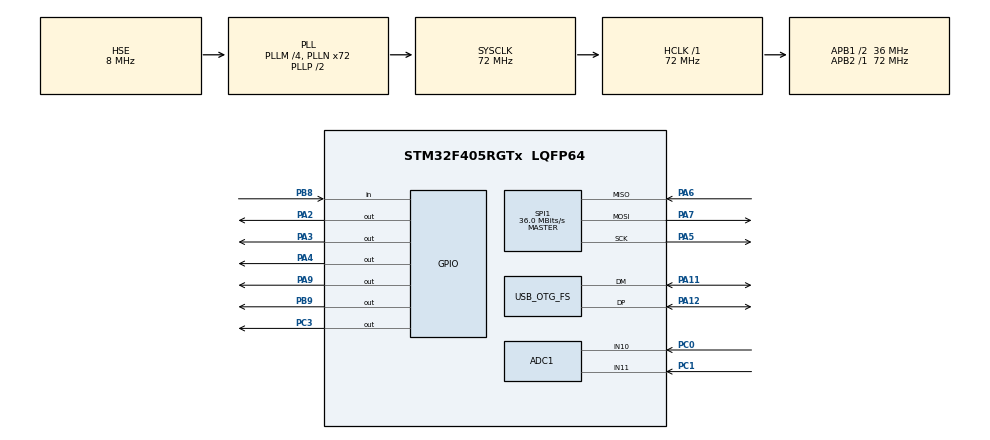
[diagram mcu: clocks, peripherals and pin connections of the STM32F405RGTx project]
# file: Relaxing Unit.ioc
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ADC1.Channel-0\#ChannelRegularConversion=ADC_CHANNEL_10
ADC1.Channel-1\#ChannelRegularConversion=ADC_CHANNEL_11
ADC1.ClockPrescaler=ADC_CLOCK_SYNC_PCLK_DIV4
ADC1.ContinuousConvMode=ENABLE
ADC1.DMAContinuousRequests=ENABLE
ADC1.NbrOfConversion=2
ADC1.NbrOfConversionFlag=1
ADC1.Rank-0\#ChannelRegularConversion=1
ADC1.Rank-1\#ChannelRegularConversion=2
ADC1.SamplingTime-0\#ChannelRegularConversion=ADC_SAMPLETIME_144CYCLES
ADC1.SamplingTime-1\#ChannelRegularConversion=ADC_SAMPLETIME_144CYCLES
ADC1.ScanConvMode=ENABLE
ADC1.master=1
Dma.ADC1.0.Direction=DMA_PERIPH_TO_MEMORY
Dma.ADC1.0.FIFOMode=DMA_FIFOMODE_DISABLE
Dma.ADC1.0.Instance=DMA2_Stream0
Dma.ADC1.0.MemDataAlignment=DMA_MDATAALIGN_HALFWORD
Dma.ADC1.0.MemInc=DMA_MINC_ENABLE
Dma.ADC1.0.Mode=DMA_CIRCULAR
Dma.ADC1.0.PeriphDataAlignment=DMA_PDATAALIGN_HALFWORD
Dma.ADC1.0.PeriphInc=DMA_PINC_DISABLE
Dma.ADC1.0.Priority=DMA_PRIORITY_LOW
Dma.Request0=ADC1
Mcu.Family=STM32F4
Mcu.Name=STM32F405RGTx
Mcu.Package=LQFP64
NVIC.DMA2_Stream0_IRQn=true\:0\:0\:false\:false\:true\:false\:true\:true
NVIC.OTG_FS_IRQn=true\:0\:0\:false\:false\:true\:false\:true\:true
NVIC.PriorityGroup=NVIC_PRIORITYGROUP_4
PA11.Mode=Device_Only
PA11.Signal=USB_OTG_FS_DM
PA12.Mode=Device_Only
PA12.Signal=USB_OTG_FS_DP
PA2.Signal=GPIO_Output
PA3.Signal=GPIO_Output
PA4.Signal=GPIO_Output
PA5.Mode=Full_Duplex_Master
PA5.Signal=SPI1_SCK
PA6.Mode=Full_Duplex_Master
PA6.Signal=SPI1_MISO
PA7.Mode=Full_Duplex_Master
PA7.Signal=SPI1_MOSI
PA9.Signal=GPIO_Output
PB8.Signal=GPIO_Input
PB9.Signal=GPIO_Output
PC0.Signal=ADCx_IN10
PC1.Signal=ADCx_IN11
PC14-OSC32_IN.Mode=LSE-External-Oscillator
PC14-OSC32_IN.Signal=RCC_OSC32_IN
PC15-OSC32_OUT.Mode=LSE-External-Oscillator
PC15-OSC32_OUT.Signal=RCC_OSC32_OUT
PC3.Signal=GPIO_Output
PH0-OSC_IN.Mode=HSE-External-Oscillator
PH0-OSC_IN.Signal=RCC_OSC_IN
PH1-OSC_OUT.Mode=HSE-External-Oscillator
PH1-OSC_OUT.Signal=RCC_OSC_OUT
ProjectManager.HeapSize=0x200
ProjectManager.StackSize=0x400
ProjectManager.TargetToolchain=STM32CubeIDE
RCC.48MHZClocksFreq_Value=48000000
RCC.AHBFreq_Value=72000000
RCC.APB1CLKDivider=RCC_HCLK_DIV2
RCC.APB1Freq_Value=36000000
RCC.APB1TimFreq_Value=72000000
RCC.APB2Freq_Value=72000000
RCC.APB2TimFreq_Value=72000000
RCC.CortexFreq_Value=72000000
RCC.HCLKFreq_Value=72000000
RCC.HSE_VALUE=8000000
RCC.HSI_VALUE=16000000
RCC.PLLM=4
RCC.PLLN=72
RCC.PLLQ=3
RCC.SYSCLKFreq_VALUE=72000000
RCC.SYSCLKSource=RCC_SYSCLKSOURCE_PLLCLK
RCC.VCOOutputFreq_Value=144000000
SH.ADCx_IN10.0=ADC1_IN10,IN10
SH.ADCx_IN11.0=ADC1_IN11,IN11
SPI1.CalculateBaudRate=36.0 MBits/s
SPI1.Direction=SPI_DIRECTION_2LINES
SPI1.Mode=SPI_MODE_MASTER
SPI1.VirtualType=VM_MASTER
USB_DEVICE.CLASS_NAME_FS=CDC
USB_DEVICE.VirtualMode-CDC_FS=Cdc
USB_DEVICE.VirtualModeFS=Cdc_FS
USB_OTG_FS.VirtualMode=Device_Only
VP_USB_DEVICE_VS_USB_DEVICE_CDC_FS.Mode=CDC_FS
board=custom

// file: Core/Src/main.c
/* USER CODE BEGIN Header */
/**
  ******************************************************************************
  * @file           : main.c
  * @brief          : Main program body
  ******************************************************************************
  * @attention
  *
  * Copyright (c) 2026 STMicroelectronics.
  * All rights reserved.
  *
  * This software is licensed under terms that can be found in the LICENSE file
  * in the root directory of this software component.
  * If no LICENSE file comes with this software, it is provided AS-IS.
  *
  ******************************************************************************
  */
/* USER CODE END Header */
#include "main.h"
#include "usb_device.h"

/* USER CODE BEGIN Includes */
void debug_print(char *msg);

#define SPI_CS_PORT  GPIOA
#define SPI_CS_PIN   GPIO_PIN_4

// Added the missing delay function definition
void delay_us(uint16_t us) {
    volatile uint32_t count = us * 1;
    while(count--);
}

extern SPI_HandleTypeDef hspi1;

void TMC5160_Write_Register(uint8_t reg_addr, uint32_t value) {
    uint8_t txData[5];

    txData[0] = reg_addr | 0x80; // Write Operation Bit
    txData[1] = (value >> 24) & 0xFF;
    txData[2] = (value >> 16) & 0xFF;
    txData[3] = (value >> 8)  & 0xFF;
    txData[4] = value         & 0xFF;

    HAL_GPIO_WritePin(SPI_CS_PORT, SPI_CS_PIN, GPIO_PIN_RESET);
    HAL_SPI_Transmit(&hspi1, txData, 5, HAL_MAX_DELAY);
    HAL_GPIO_WritePin(SPI_CS_PORT, SPI_CS_PIN, GPIO_PIN_SET);
}

/* USER CODE END Includes */

/* USER CODE BEGIN PTD */
uint16_t adc_buffer[2];  // adc_buffer[0] = PC0, adc_buffer[1] = PC1
char msg_buffer[100];    // String buffer for USB printing
/* USER CODE END PTD */

ADC_HandleTypeDef hadc1;
DMA_HandleTypeDef hdma_adc1;

SPI_HandleTypeDef hspi1;

void SystemClock_Config(void);
static void MX_GPIO_Init(void);
static void MX_DMA_Init(void);
static void MX_SPI1_Init(void);
static void MX_ADC1_Init(void);

/* USER CODE BEGIN 0 */
void TMC5160_Init(void) {
    HAL_GPIO_WritePin(SPI_CS_PORT, SPI_CS_PIN, GPIO_PIN_SET);
    HAL_Delay(10);

    // 1. CHOPCONF: Set to 4 microsteps for 4x baseline speed increase
    TMC5160_Write_Register(0x6C, 0x000100C3);

    // 2. IHOLD_IRUN: Increased IRUN to 16 for better torque at high speeds
    // Run Current (IRUN) = 16, Hold Current (IHOLD) = 2, Delay = 8
    uint32_t current_setting = (8 << 16) | (4 << 8) | (2 << 0);
    TMC5160_Write_Register(0x10, current_setting);

    // 3. GCONF: 0x00000000 turns OFF StealthChop and enables SpreadCycle
    TMC5160_Write_Register(0x00, 0x00000000);

    // 4. TPWMTHRS: Not used in pure SpreadCycle mode
    TMC5160_Write_Register(0x13, 0x00000000);

    // 5. PWMCONF: Can be left as default or omitted, as it only affects StealthChop
    TMC5160_Write_Register(0x70, 0xC40C001E);
}

/* USER CODE END 0 */

int main(void)
{

  /* MCU Configuration--------------------------------------------------------*/

  /* Reset of all peripherals, Initializes the Flash interface and the Systick. */
  HAL_Init();

  /* Configure the system clock */
  SystemClock_Config();

  /* Initialize all configured peripherals */
  MX_GPIO_Init();
  MX_DMA_Init();
  MX_SPI1_Init();
  MX_USB_DEVICE_Init();
  MX_ADC1_Init();
  /* USER CODE BEGIN 2 */
  TMC5160_Init();
    HAL_Delay(500);

    // Initialize background DMA processing loop for ADC1 and ADC2 pins
    HAL_ADC_Start_DMA(&hadc1, (uint32_t*)adc_buffer, 2);

    // Enable Driver Stage Output (PA9 Lowered to GND)
    HAL_GPIO_WritePin(GPIOA, GPIO_PIN_9, GPIO_PIN_SET);
    HAL_Delay(10);

    // Fix Direction to one side permanently
    HAL_GPIO_WritePin(GPIOA, GPIO_PIN_3, GPIO_PIN_SET); // DIR High

    //debug_print("System Initialized! Awaiting Trigger on PB8...\r\n");

    uint32_t last_print_time = 0;
      uint32_t runout_start_time = 0;
      uint32_t trigger_high_start_time = 0; // Track when input became high

      // Operational Motor States:
      // 0 = Stopped, 1 = Running, 2 = Run-out Countdown, 3 = Safety Cutoff Active
      uint8_t system_state = 0;
      GPIO_PinState last_trigger_state = GPIO_PIN_RESET;
      uint8_t safety_lockout = 0;

  /* USER CODE END 2 */

  /* Infinite loop */
  /* USER CODE BEGIN WHILE */
  while (1)
  {
	  uint32_t current_time = HAL_GetTick();

	        // ====================================================================
	        // 1. READ & MAP ADC CHANNELS DYNAMICALLY
	        // ====================================================================
	        // Map PC0 (0-4095) linearly to custom microsecond pulse delays (1000us to 50us)
	        uint16_t speed_delay_us = 1 + ((adc_buffer[0] * (2000 - 50)) / 4095);

	        // Map PC1 (0-4095) linearly to the run-out timeout length (0ms to 2000ms)
	        uint32_t runout_duration_ms = (adc_buffer[1] * 2000) / 4095;

	        // ====================================================================
	        // 2. MONITOR SERIAL OUTPUT MONITOR (Every 200ms without blocking)
	        // ====================================================================
	        if (current_time - last_print_time >= 200) {
	            last_print_time = current_time;
	            snprintf(msg_buffer, sizeof(msg_buffer),
	                     "ADC1(Spd): %d (%dus) | ADC2(Hold): %d (%ldms) | State: %d\r\n",
	                     adc_buffer[0], speed_delay_us, adc_buffer[1], runout_duration_ms, system_state);
	            debug_print(msg_buffer);
	        }

	        // ====================================================================
	        // 3. READ INPUT TRIGGER STATUS (PB8)
	        // ====================================================================
	        GPIO_PinState current_trigger = HAL_GPIO_ReadPin(GPIOB, GPIO_PIN_8);

	        // Edge Detection: Input Switched from LOW to HIGH
	        if (current_trigger == GPIO_PIN_SET && last_trigger_state == GPIO_PIN_RESET) {
	            trigger_high_start_time = current_time; // Mark start time for safety checks

	            if (!safety_lockout) {
	                HAL_GPIO_WritePin(GPIOA, GPIO_PIN_9, GPIO_PIN_RESET); // Enable motor bridge
	                HAL_GPIO_WritePin(GPIOB, GPIO_PIN_9, GPIO_PIN_SET); // set the relax solenoid
	                system_state = 1;
	                //debug_print("--> Motor Started via Pin Trigger <--\r\n");
	            }
	        }

	        // Edge Detection: Input Switched from HIGH to LOW
	        if (current_trigger == GPIO_PIN_RESET && last_trigger_state == GPIO_PIN_SET) {
	            // Rule: Turn off buzzer instantly when input gets low
	            HAL_GPIO_WritePin(GPIOC, GPIO_PIN_3, GPIO_PIN_RESET);
	            safety_lockout = 0; // Clear system safety status flag

	            if (system_state == 1) {
	                system_state = 2; // Transition to run-out state
	                runout_start_time = current_time; // Start the countdown clock
	               // debug_print("--> Trigger Released! Run-out phase active... <--\r\n");
	            } else if (system_state == 3) {
	                system_state = 0; // Return straight to stop from cutoff
	                HAL_GPIO_WritePin(GPIOA, GPIO_PIN_9, GPIO_PIN_SET); // Disable driver bridge
	                //debug_print("--> Trigger Released! Exited Safety Overtime Lockout <--\r\n");
	            }
	        }
	        last_trigger_state = current_trigger;

	        // ====================================================================
	        // 4. CONTINUOUS MONITORING FOR HIGH SENSOR INPUT
	        // ====================================================================
	        if (current_trigger == GPIO_PIN_SET) {
	            uint32_t continuous_high_duration = current_time - trigger_high_start_time;

	            // Condition A: If input is high for > 5 seconds, turn on buzzer (PC3)
	            if (continuous_high_duration >= 6000) {
	                if (HAL_GPIO_ReadPin(GPIOC, GPIO_PIN_3) == GPIO_PIN_RESET) {
	                    HAL_GPIO_WritePin(GPIOC, GPIO_PIN_3, GPIO_PIN_SET); // Turn on Buzzer
	                    //debug_print("[WARNING] Input active > 6s! Buzzer Active.\r\n");
	                }
	            }

	            // Condition B: If input is high for > 30 seconds, force motor off
	            if (continuous_high_duration >= 30000) {
	                if (system_state == 1) {
	                    system_state = 3; // Jump to safety cutoff state
	                    safety_lockout = 1;
	                    HAL_GPIO_WritePin(GPIOA, GPIO_PIN_9, GPIO_PIN_SET); // Cut driver torque/power
	                   // debug_print("[CRITICAL] Input active > 30s! Motor Cutoff Protected.\r\n");
	                }
	            }
	        }

	        // ====================================================================
	        // 5. MOTOR STEP DRIVING STATE MACHINE
	        // ====================================================================
	        if (system_state == 1) {
	            // Trigger is active: Spin at the exact rate dictated by ADC1
	            HAL_GPIO_WritePin(GPIOA, GPIO_PIN_2, GPIO_PIN_SET);
	            delay_us(speed_delay_us);
	            HAL_GPIO_WritePin(GPIOA, GPIO_PIN_2, GPIO_PIN_RESET);
	            delay_us(speed_delay_us);
	        }
	        else if (system_state == 2) {
	            // Trigger dropped, run out the clock tracking duration configured via ADC2
	            if (current_time - runout_start_time < runout_duration_ms) {
	                HAL_GPIO_WritePin(GPIOA, GPIO_PIN_2, GPIO_PIN_SET);
	                delay_us(speed_delay_us);
	                HAL_GPIO_WritePin(GPIOA, GPIO_PIN_2, GPIO_PIN_RESET);
	                delay_us(speed_delay_us);
	            } else {
	                // Run-out completed! Shut down motor stepping and disable bridge
	                system_state = 0;
	                HAL_GPIO_WritePin(GPIOB, GPIO_PIN_9, GPIO_PIN_RESET);
	                HAL_GPIO_WritePin(GPIOA, GPIO_PIN_9, GPIO_PIN_SET); // Motor relaxed
	               debug_print("--> Run-out finished. Motor Stopped. <--\r\n");
	            }
	        }
	        // If system_state == 0, the motor sits idle with constant holding torque lock.
    /* USER CODE END WHILE */

  }
}

void SystemClock_Config(void)
{
  RCC_OscInitTypeDef RCC_OscInitStruct = {0};
  RCC_ClkInitTypeDef RCC_ClkInitStruct = {0};

  /** Configure the main internal regulator output voltage
  */
  __HAL_RCC_PWR_CLK_ENABLE();
  __HAL_PWR_VOLTAGESCALING_CONFIG(PWR_REGULATOR_VOLTAGE_SCALE1);

  /** Initializes the RCC Oscillators according to the specified parameters
  * in the RCC_OscInitTypeDef structure.
  */
  RCC_OscInitStruct.OscillatorType = RCC_OSCILLATORTYPE_HSE;
  RCC_OscInitStruct.HSEState = RCC_HSE_ON;
  RCC_OscInitStruct.PLL.PLLState = RCC_PLL_ON;
  RCC_OscInitStruct.PLL.PLLSource = RCC_PLLSOURCE_HSE;
  RCC_OscInitStruct.PLL.PLLM = 4;
  RCC_OscInitStruct.PLL.PLLN = 72;
  RCC_OscInitStruct.PLL.PLLP = RCC_PLLP_DIV2;
  RCC_OscInitStruct.PLL.PLLQ = 3;
  if (HAL_RCC_OscConfig(&RCC_OscInitStruct) != HAL_OK)
  {
    Error_Handler();
  }

  /** Initializes the CPU, AHB and APB buses clocks
  */
  RCC_ClkInitStruct.ClockType = RCC_CLOCKTYPE_HCLK|RCC_CLOCKTYPE_SYSCLK
                              |RCC_CLOCKTYPE_PCLK1|RCC_CLOCKTYPE_PCLK2;
  RCC_ClkInitStruct.SYSCLKSource = RCC_SYSCLKSOURCE_PLLCLK;
  RCC_ClkInitStruct.AHBCLKDivider = RCC_SYSCLK_DIV1;
  RCC_ClkInitStruct.APB1CLKDivider = RCC_HCLK_DIV2;
  RCC_ClkInitStruct.APB2CLKDivider = RCC_HCLK_DIV1;

  if (HAL_RCC_ClockConfig(&RCC_ClkInitStruct, FLASH_LATENCY_2) != HAL_OK)
  {
    Error_Handler();
  }
}

static void MX_ADC1_Init(void)
{

  ADC_ChannelConfTypeDef sConfig = {0};

  /** Configure the global features of the ADC (Clock, Resolution, Data Alignment and number of conversion)
  */
  hadc1.Instance = ADC1;
  hadc1.Init.ClockPrescaler = ADC_CLOCK_SYNC_PCLK_DIV4;
  hadc1.Init.Resolution = ADC_RESOLUTION_12B;
  hadc1.Init.ScanConvMode = ENABLE;
  hadc1.Init.ContinuousConvMode = ENABLE;
  hadc1.Init.DiscontinuousConvMode = DISABLE;
  hadc1.Init.ExternalTrigConvEdge = ADC_EXTERNALTRIGCONVEDGE_NONE;
  hadc1.Init.ExternalTrigConv = ADC_SOFTWARE_START;
  hadc1.Init.DataAlign = ADC_DATAALIGN_RIGHT;
  hadc1.Init.NbrOfConversion = 2;
  hadc1.Init.DMAContinuousRequests = ENABLE;
  hadc1.Init.EOCSelection = ADC_EOC_SINGLE_CONV;
  if (HAL_ADC_Init(&hadc1) != HAL_OK)
  {
    Error_Handler();
  }

  /** Configure for the selected ADC regular channel its corresponding rank in the sequencer and its sample time.
  */
  sConfig.Channel = ADC_CHANNEL_10;
  sConfig.Rank = 1;
  sConfig.SamplingTime = ADC_SAMPLETIME_144CYCLES;
  if (HAL_ADC_ConfigChannel(&hadc1, &sConfig) != HAL_OK)
  {
    Error_Handler();
  }

  /** Configure for the selected ADC regular channel its corresponding rank in the sequencer and its sample time.
  */
  sConfig.Channel = ADC_CHANNEL_11;
  sConfig.Rank = 2;
  if (HAL_ADC_ConfigChannel(&hadc1, &sConfig) != HAL_OK)
  {
    Error_Handler();
  }

}

static void MX_SPI1_Init(void)
{

  /* SPI1 parameter configuration*/
  hspi1.Instance = SPI1;
  hspi1.Init.Mode = SPI_MODE_MASTER;
  hspi1.Init.Direction = SPI_DIRECTION_2LINES;
  hspi1.Init.DataSize = SPI_DATASIZE_8BIT;
  hspi1.Init.CLKPolarity = SPI_POLARITY_LOW;
  hspi1.Init.CLKPhase = SPI_PHASE_1EDGE;
  hspi1.Init.NSS = SPI_NSS_SOFT;
  hspi1.Init.BaudRatePrescaler = SPI_BAUDRATEPRESCALER_16;
  hspi1.Init.FirstBit = SPI_FIRSTBIT_MSB;
  hspi1.Init.TIMode = SPI_TIMODE_DISABLE;
  hspi1.Init.CRCCalculation = SPI_CRCCALCULATION_DISABLE;
  hspi1.Init.CRCPolynomial = 10;
  if (HAL_SPI_Init(&hspi1) != HAL_OK)
  {
    Error_Handler();
  }

}

static void MX_DMA_Init(void)
{

  /* DMA controller clock enable */
  __HAL_RCC_DMA2_CLK_ENABLE();

  /* DMA interrupt init */
  /* DMA2_Stream0_IRQn interrupt configuration */
  HAL_NVIC_SetPriority(DMA2_Stream0_IRQn, 0, 0);
  HAL_NVIC_EnableIRQ(DMA2_Stream0_IRQn);

}

static void MX_GPIO_Init(void)
{
  GPIO_InitTypeDef GPIO_InitStruct = {0};

  /* GPIO Ports Clock Enable */
  __HAL_RCC_GPIOC_CLK_ENABLE();
  __HAL_RCC_GPIOH_CLK_ENABLE();
  __HAL_RCC_GPIOA_CLK_ENABLE();
  __HAL_RCC_GPIOB_CLK_ENABLE();

  /*Configure GPIO pin Output Level */
  HAL_GPIO_WritePin(GPIOC, GPIO_PIN_3, GPIO_PIN_RESET);

  /*Configure GPIO pin Output Level */
  HAL_GPIO_WritePin(GPIOA, GPIO_PIN_2|GPIO_PIN_3|GPIO_PIN_4|GPIO_PIN_9, GPIO_PIN_RESET);

  /*Configure GPIO pin Output Level */
  HAL_GPIO_WritePin(GPIOB, GPIO_PIN_9, GPIO_PIN_RESET);

  /*Configure GPIO pin : PC3 */
  GPIO_InitStruct.Pin = GPIO_PIN_3;
  GPIO_InitStruct.Mode = GPIO_MODE_OUTPUT_PP;
  GPIO_InitStruct.Pull = GPIO_NOPULL;
  GPIO_InitStruct.Speed = GPIO_SPEED_FREQ_LOW;
  HAL_GPIO_Init(GPIOC, &GPIO_InitStruct);

  /*Configure GPIO pins : PA2 PA3 PA4 PA9 */
  GPIO_InitStruct.Pin = GPIO_PIN_2|GPIO_PIN_3|GPIO_PIN_4|GPIO_PIN_9;
  GPIO_InitStruct.Mode = GPIO_MODE_OUTPUT_PP;
  GPIO_InitStruct.Pull = GPIO_NOPULL;
  GPIO_InitStruct.Speed = GPIO_SPEED_FREQ_LOW;
  HAL_GPIO_Init(GPIOA, &GPIO_InitStruct);

  /*Configure GPIO pin : PB8 */
  GPIO_InitStruct.Pin = GPIO_PIN_8;
  GPIO_InitStruct.Mode = GPIO_MODE_INPUT;
  GPIO_InitStruct.Pull = GPIO_NOPULL;
  HAL_GPIO_Init(GPIOB, &GPIO_InitStruct);

  /*Configure GPIO pin : PB9 */
  GPIO_InitStruct.Pin = GPIO_PIN_9;
  GPIO_InitStruct.Mode = GPIO_MODE_OUTPUT_PP;
  GPIO_InitStruct.Pull = GPIO_NOPULL;
  GPIO_InitStruct.Speed = GPIO_SPEED_FREQ_LOW;
  HAL_GPIO_Init(GPIOB, &GPIO_InitStruct);

}

void Error_Handler(void)
{
  __disable_irq();
  while (1)
  {
  }
}
